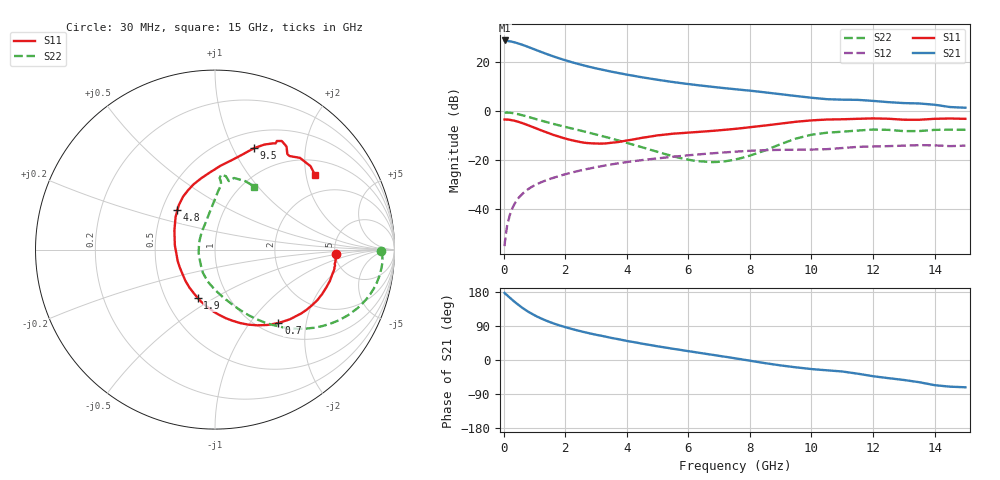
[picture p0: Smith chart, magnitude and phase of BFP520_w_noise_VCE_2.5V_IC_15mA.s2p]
! Infineon Technologies  Discrete & RF Semiconductors
! BFP520
! VCE =  2.5 V,  IC =  15 mA
! Common Emitter S-Parameters:  Oct 2015
# GHz  S  MA  R  50
!  f  S11  S21  S12  S22
! GHz  MAG  ANG  MAG  ANG  MAG  ANG  MAG  ANG
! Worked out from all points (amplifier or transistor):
!   109 points, 30 MHz to 15 GHz, reference 50 ohm
!   highest |S21| = 29.0 dB at 30 MHz (marker M1)
!   |S21| within 3 dB of that: start of sweep to 865 MHz
!   unconditionally stable (mu >= 1): start of sweep to 44.07 MHz; 3.089 GHz to end of sweep
!   at 450 MHz: K = 0.36, MSG = 32.0 dB, |S12| = -36.1 dB
!   at 4 GHz: K = 1.08, MAG = 16.2 dB, |S12| = -20.9 dB
!   at 15 GHz: K = 1.27, MAG = 4.7 dB, |S12| = -14.1 dB
!   lowest NFmin = 1.81 dB at 900 MHz
!   S11 on the Smith chart (normalised r, x): 30 MHz: 5.09, -0.44; 700 MHz: 1.21, -1.40; 1.9 GHz: 0.72, -0.42; 4.8 GHz: 0.60, +0.29; 9.5 GHz: 0.68, +1.21; 15 GHz: 1.39, +2.25
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0.03  0.6738 -2.0  28.19 176.8  0.0017 44.3  0.9245 -0.5
0.05  0.6743 -3.3  27.85 174.9  0.0023 57.2  0.9301 -1.4
0.07  0.6738 -5.3  27.92 173.7  0.0029 63.7  0.9334 -2.5
0.2  0.6636 -15.2  27.07 164.4  0.0074 73.7  0.9279 -9.1
0.3  0.6461 -22.6  26.25 157.3  0.0108 73.8  0.9106 -13.9
0.4  0.6237 -29.7  25.27 150.5  0.014 72.4  0.8863 -18.3
0.6  0.5698 -43.0  23.05 138.1  0.0199 69.3  0.827 -26.2
0.7  0.5404 -49.2  21.86 132.5  0.0227 67.8  0.795 -29.7
0.9  0.4838 -60.7  19.58 122.7  0.0277 65.1  0.732 -35.7
1.2  0.408 -76.2  16.55 110.2  0.0344 62.0  0.6457 -43.1
1.5  0.347 -90.9  14.1 100.1  0.0406 59.7  0.5729 -49.0
1.9  0.2859 -109.6  11.59 89.2  0.0487 57.0  0.4933 -55.6
2.2  0.2548 -124.1  10.16 82.2  0.0547 55.1  0.4433 -59.9
2.6  0.226 -143.6  8.673 73.9  0.0628 52.3  0.3846 -65.4
3.5  0.2251 173.8  6.455 58.2  0.0809 45.1  0.2746 -79.5
4.8  0.3038 133.6  4.61 39.0  0.1042 33.7  0.1592 -110.9
5.1  0.3234 127.6  4.308 34.8  0.1092 31.2  0.1402 -119.6
7.6  0.4388 91.9  2.786 3.4  0.1485 8.9  0.1046 142.5
9.5  0.6062 68.9  2.042 -19.4  0.1616 -9.2  0.2741 90.6
10.5  0.6732 61.5  1.76 -27.2  0.1661 -14.4  0.3612 84.6
13  0.6677 52.9  1.464 -52.7  0.196 -35.5  0.3892 78.6
15  0.6958 36.9  1.175 -72.0  0.1962 -51.7  0.4141 57.9
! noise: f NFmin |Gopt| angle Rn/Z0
0.45  1.82  0.2  1  0.28
0.9  1.81  0.19  5  0.3
1.9  1.97  0.18  8  0.27
2.4  1.97  0.14  17  0.27
3.5  1.91  0.1  38  0.28
